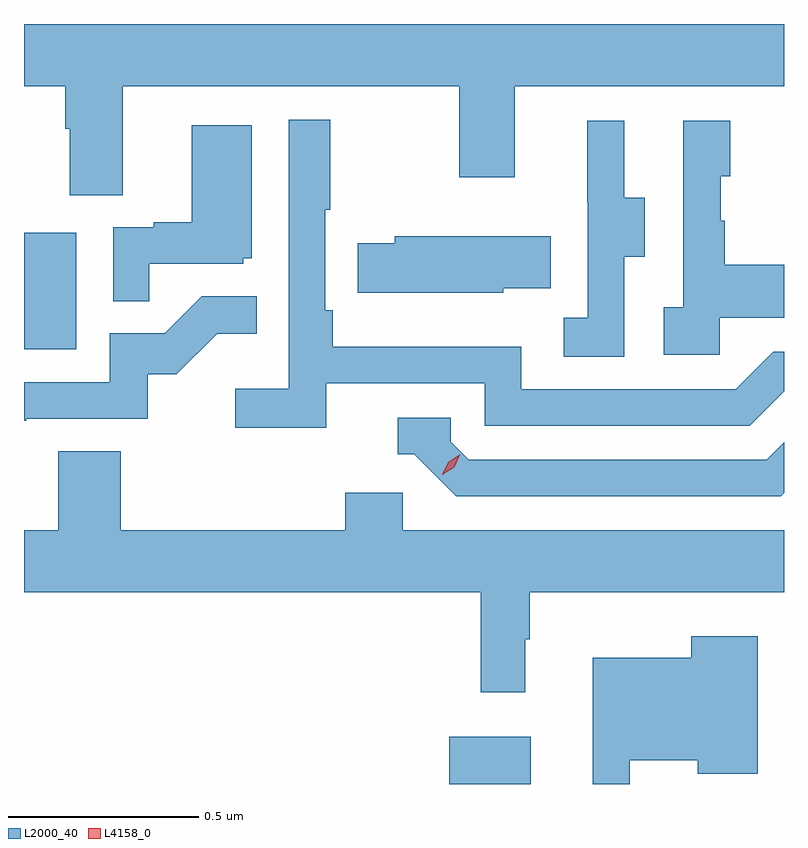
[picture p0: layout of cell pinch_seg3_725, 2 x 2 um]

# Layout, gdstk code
import gdstk
lib = gdstk.Library(unit=1e-6, precision=1e-09)
def R(c, l, rs):  # rectangles x0, y0, x1, y1
    for r in rs: c.add(gdstk.rectangle(r[:2], r[2:], *l))
def P(c, l, *ps):  # polygons
    for p in ps: c.add(gdstk.Polygon(p, *l))
L2000_40 = (2000, 40)
L4158_0 = (4158, 0)

pinch_seg3_725 = lib.new_cell('pinch_seg3_725')
R(pinch_seg3_725, L2000_40, [(1087.1,673.772,1087.315,673.897), (1085.981,674.916,1086.118,675.223)])
P(pinch_seg3_725, L2000_40, [(1086.241,675.608),(1087.126,675.608),(1087.126,675.369),(1087.273,675.369),(1087.273,675.608),(1087.981,675.608),(1087.981,675.772),(1085.981,675.772),(1085.981,675.608),(1086.089,675.608),(1086.089,675.496),(1086.101,675.496),(1086.101,675.322),(1086.241,675.322)],
  [(1086.776,674.826),(1087.194,674.826),(1087.194,674.715),(1087.891,674.715),(1087.981,674.805),(1087.981,674.91),(1087.953,674.91),(1087.854,674.811),(1087.29,674.811),(1087.29,674.923),(1086.793,674.923),(1086.793,675.019),(1086.774,675.019),(1086.774,675.283),(1086.787,675.283),(1086.787,675.52),(1086.678,675.52),(1086.678,674.812),(1086.537,674.812),(1086.537,674.71),(1086.776,674.71)],
  [(1087.812,674.999),(1087.981,674.999),(1087.981,675.139),(1087.825,675.139),(1087.825,675.254),(1087.815,675.254),(1087.815,675.372),(1087.84,675.372),(1087.84,675.517),(1087.716,675.517),(1087.716,675.026),(1087.665,675.026),(1087.665,674.901),(1087.812,674.901)],
  [(1087.56,675.16),(1087.615,675.16),(1087.615,675.315),(1087.561,675.315),(1087.561,675.517),(1087.463,675.517),(1087.463,675.303),(1087.464,675.303),(1087.464,674.999),(1087.401,674.999),(1087.401,674.896),(1087.56,674.896)],
  [(1086.311,675.141),(1086.558,675.141),(1086.558,675.156),(1086.58,675.156),(1086.58,675.505),(1086.422,675.505),(1086.422,675.25),(1086.323,675.25),(1086.323,675.237),(1086.216,675.237),(1086.216,675.043),(1086.311,675.043)],
  [(1087.242,675.077),(1087.367,675.077),(1087.367,675.214),(1086.957,675.214),(1086.957,675.195),(1086.859,675.195),(1086.859,675.065),(1087.242,675.065)],
  [(1085.987,674.733),(1086.306,674.733),(1086.306,674.85),(1086.382,674.85),(1086.489,674.957),(1086.593,674.957),(1086.593,675.056),(1086.449,675.056),(1086.351,674.958),(1086.207,674.958),(1086.207,674.829),(1085.981,674.829),(1085.981,674.728),(1085.987,674.728)],
  [(1087.981,674.538),(1087.981,674.671),(1087.935,674.625),(1087.152,674.625),(1087.104,674.673),(1087.104,674.736),(1086.965,674.736),(1086.965,674.64),(1087.008,674.64),(1087.119,674.529),(1087.972,674.529)],
  [(1087.3,674.153),(1087.312,674.153),(1087.312,674.276),(1087.981,674.276),(1087.981,674.44),(1086.978,674.44),(1086.978,674.538),(1086.827,674.538),(1086.827,674.44),(1086.236,674.44),(1086.236,674.648),(1086.071,674.648),(1086.071,674.44),(1085.981,674.44),(1085.981,674.276),(1087.183,674.276),(1087.183,674.013),(1087.3,674.013)],
  [(1087.575,673.835),(1087.754,673.835),(1087.754,673.799),(1087.912,673.799),(1087.912,674.161),(1087.737,674.161),(1087.737,674.104),(1087.478,674.104),(1087.478,673.772),(1087.575,673.772)])
P(pinch_seg3_725, L4158_0, [(1087.082,674.586),(1087.082,674.586),(1087.098,674.619),(1087.128,674.639),(1087.128,674.639),(1087.128,674.639),(1087.113,674.606),(1087.082,674.586)])

lib.write_gds('pinch_seg3_725.gds')
